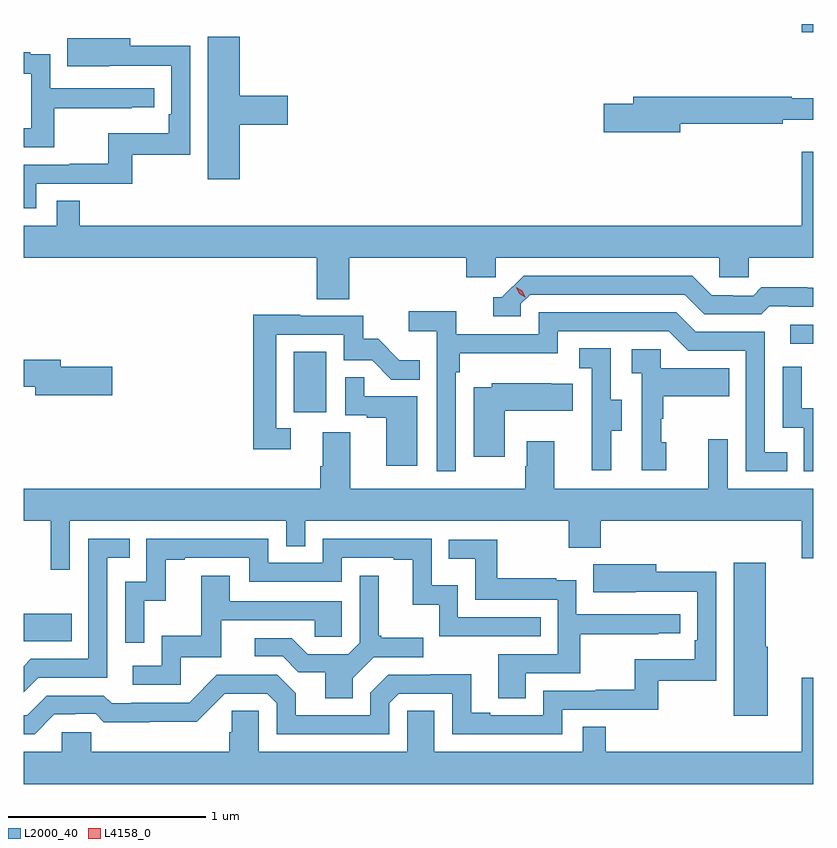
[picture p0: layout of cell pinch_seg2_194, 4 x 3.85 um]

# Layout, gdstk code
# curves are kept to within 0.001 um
import gdstk
lib = gdstk.Library(unit=1e-6, precision=1e-09)
def R(c, l, rs):  # rectangles x0, y0, x1, y1
    for r in rs: c.add(gdstk.rectangle(r[:2], r[2:], *l))
def P(c, l, *ps):  # polygons
    for p in ps: c.add(gdstk.Polygon(p, *l))
L2000_40 = (2000, 40)
L4158_0 = (4158, 0)

pinch_seg2_194 = lib.new_cell('pinch_seg2_194')
R(pinch_seg2_194, L2000_40, [(1000.226,661.679,1000.469,661.819), (1001.594,662.838,1001.758,663.145), (1004.109,663.186,1004.226,663.282), (1004.168,664.764,1004.226,664.805)])
P(pinch_seg2_194, L2000_40, [(1001.32,664.295),(1001.563,664.295),(1001.563,664.442),(1001.32,664.442),(1001.32,664.741),(1001.159,664.741),(1001.159,664.02),(1001.32,664.02)],
  [(1000.29,663.996),(1000.777,663.996),(1000.777,664.143),(1001.07,664.143),(1001.07,664.694),(1000.765,664.694),(1000.765,664.732),(1000.447,664.732),(1000.447,664.592),(1000.661,664.592),(1000.661,664.593),(1000.974,664.593),(1000.974,664.348),(1000.961,664.348),(1000.961,664.252),(1000.656,664.252),(1000.656,664.097),(1000.459,664.097),(1000.459,664.092),(1000.226,664.092),(1000.226,663.873),(1000.29,663.873)],
  [(1000.382,664.378),(1000.775,664.378),(1000.775,664.383),(1000.888,664.383),(1000.888,664.479),(1000.362,664.479),(1000.362,664.651),(1000.259,664.651),(1000.259,664.663),(1000.226,664.663),(1000.226,664.554),(1000.266,664.554),(1000.266,664.278),(1000.226,664.278),(1000.226,664.182),(1000.382,664.182)],
  [(1003.552,664.3),(1004.072,664.3),(1004.072,664.319),(1004.226,664.319),(1004.226,664.429),(1004.117,664.429),(1004.117,664.436),(1003.313,664.436),(1003.313,664.4),(1003.164,664.4),(1003.164,664.258),(1003.552,664.258)],
  [(1001.876,663.62),(1002.467,663.62),(1002.467,663.522),(1002.618,663.522),(1002.618,663.62),(1003.749,663.62),(1003.749,663.522),(1003.899,663.522),(1003.899,663.62),(1004.226,663.62),(1004.226,664.159),(1004.168,664.159),(1004.168,663.784),(1000.511,663.784),(1000.511,663.911),(1000.395,663.911),(1000.395,663.784),(1000.226,663.784),(1000.226,663.62),(1001.711,663.62),(1001.711,663.412),(1001.876,663.412)],
  [(1002.744,663.387),(1002.792,663.435),(1003.575,663.435),(1003.674,663.336),(1003.963,663.336),(1004.002,663.375),(1004.101,663.375),(1004.101,663.372),(1004.226,663.372),(1004.226,663.469),(1004.196,663.469),(1004.196,663.472),(1003.963,663.472),(1003.921,663.429),(1003.818,663.429),(1003.818,663.432),(1003.711,663.432),(1003.612,663.531),(1002.759,663.531),(1002.648,663.42),(1002.605,663.42),(1002.605,663.324),(1002.744,663.324)],
  [(1002.414,663.041),(1002.434,663.041),(1002.434,663.137),(1002.93,663.137),(1002.93,663.249),(1003.494,663.249),(1003.593,663.15),(1003.884,663.15),(1003.884,662.541),(1004.093,662.541),(1004.093,662.637),(1003.98,662.637),(1003.98,663.246),(1003.63,663.246),(1003.531,663.345),(1002.834,663.345),(1002.834,663.234),(1002.416,663.234),(1002.416,663.35),(1002.177,663.35),(1002.177,663.248),(1002.318,663.248),(1002.318,662.541),(1002.414,662.541)],
  [(1001.578,662.757),(1001.505,662.757),(1001.505,663.231),(1001.847,663.231),(1001.847,663.102),(1001.991,663.102),(1002.089,663.004),(1002.233,663.004),(1002.233,663.103),(1002.129,663.103),(1002.022,663.21),(1001.946,663.21),(1001.946,663.327),(1001.627,663.327),(1001.627,663.332),(1001.389,663.332),(1001.389,662.652),(1001.578,662.652)],
  [(1003.201,662.746),(1003.255,662.746),(1003.255,662.901),(1003.2,662.901),(1003.2,663.164),(1003.041,663.164),(1003.041,663.061),(1003.104,663.061),(1003.104,662.757),(1003.103,662.757),(1003.103,662.544),(1003.201,662.544)],
  [(1003.48,662.688),(1003.455,662.688),(1003.455,662.807),(1003.465,662.807),(1003.465,662.921),(1003.799,662.921),(1003.799,663.061),(1003.452,663.061),(1003.452,663.159),(1003.305,663.159),(1003.305,663.035),(1003.356,663.035),(1003.356,662.544),(1003.48,662.544)],
  [(1000.675,663.068),(1000.414,663.068),(1000.414,663.104),(1000.226,663.104),(1000.226,662.968),(1000.286,662.968),(1000.286,662.926),(1000.675,662.926)],
  [(1004.226,662.858),(1004.166,662.858),(1004.166,663.07),(1004.07,663.07),(1004.07,662.76),(1004.178,662.76),(1004.178,662.541),(1004.226,662.541)],
  [(1002.22,662.919),(1001.951,662.919),(1001.951,663.017),(1001.856,663.017),(1001.856,662.823),(1001.963,662.823),(1001.963,662.811),(1002.062,662.811),(1002.062,662.568),(1002.22,662.568)],
  [(1002.664,662.846),(1003.007,662.846),(1003.007,662.983),(1002.899,662.983),(1002.899,662.986),(1002.597,662.986),(1002.597,662.965),(1002.506,662.965),(1002.506,662.613),(1002.664,662.613)],
  [(1000.461,662.288),(1001.556,662.288),(1001.556,662.161),(1001.652,662.161),(1001.652,662.288),(1002.988,662.288),(1002.988,662.153),(1003.148,662.153),(1003.148,662.288),(1004.168,662.288),(1004.168,662.1),(1004.226,662.1),(1004.226,662.452),(1003.791,662.452),(1003.791,662.701),(1003.694,662.701),(1003.694,662.452),(1002.913,662.452),(1002.913,662.692),(1002.773,662.692),(1002.773,662.564),(1002.766,662.564),(1002.766,662.452),(1001.881,662.452),(1001.881,662.738),(1001.741,662.738),(1001.741,662.564),(1001.729,662.564),(1001.729,662.452),(1000.226,662.452),(1000.226,662.288),(1000.364,662.288),(1000.364,662.04),(1000.461,662.04)],
  [(1000.3,661.494),(1000.65,661.494),(1000.65,662.103),(1000.763,662.103),(1000.763,662.199),(1000.554,662.199),(1000.554,661.59),(1000.263,661.59),(1000.226,661.553),(1000.226,661.42)],
  [(1000.836,661.883),(1000.946,661.883),(1000.946,662.091),(1001.041,662.091),(1001.041,662.103),(1001.37,662.103),(1001.37,661.98),(1001.838,661.98),(1001.838,662.103),(1002.101,662.103),(1002.101,662.091),(1002.197,662.091),(1002.197,661.865),(1002.33,661.865),(1002.33,661.704),(1002.845,661.704),(1002.845,661.8),(1002.426,661.8),(1002.426,661.963),(1002.294,661.963),(1002.294,662.199),(1001.742,662.199),(1001.742,662.076),(1001.466,662.076),(1001.466,662.199),(1000.848,662.199),(1000.848,661.98),(1000.74,661.98),(1000.74,661.671),(1000.836,661.671)],
  [(1002.769,661.518),(1003.046,661.518),(1003.046,661.714),(1003.439,661.714),(1003.439,661.719),(1003.552,661.719),(1003.552,661.815),(1003.026,661.815),(1003.026,661.987),(1002.923,661.987),(1002.923,661.999),(1002.625,661.999),(1002.625,662.193),(1002.379,662.193),(1002.379,662.096),(1002.514,662.096),(1002.514,661.89),(1002.93,661.89),(1002.93,661.614),(1002.629,661.614),(1002.629,661.39),(1002.769,661.39)],
  [(1003.996,661.65),(1003.984,661.65),(1003.984,662.077),(1003.823,662.077),(1003.823,661.302),(1003.996,661.302)],
  [(1000.381,661.308),(1000.488,661.308),(1000.488,661.311),(1000.591,661.311),(1000.633,661.269),(1000.866,661.269),(1000.866,661.271),(1001.102,661.271),(1001.244,661.413),(1001.46,661.413),(1001.508,661.365),(1001.508,661.209),(1002.078,661.209),(1002.078,661.365),(1002.126,661.413),(1002.396,661.413),(1002.396,661.209),(1002.954,661.209),(1002.954,661.332),(1003.441,661.332),(1003.441,661.479),(1003.734,661.479),(1003.734,662.03),(1003.429,662.03),(1003.429,662.068),(1003.111,662.068),(1003.111,661.928),(1003.638,661.929),(1003.638,661.684),(1003.625,661.684),(1003.625,661.588),(1003.32,661.588),(1003.32,661.433),(1003.123,661.433),(1003.123,661.428),(1002.858,661.428),(1002.858,661.305),(1002.589,661.305),(1002.589,661.318),(1002.493,661.318),(1002.493,661.511),(1002.288,661.511),(1002.288,661.509),(1002.072,661.509),(1001.982,661.419),(1001.982,661.305),(1001.605,661.305),(1001.605,661.415),(1001.511,661.509),(1001.205,661.509),(1001.064,661.368),(1000.771,661.368),(1000.771,661.365),(1000.672,661.365),(1000.633,661.404),(1000.344,661.404),(1000.245,661.305),(1000.226,661.305),(1000.226,661.209),(1000.282,661.209)],
  [(1001.022,661.599),(1001.227,661.599),(1001.227,661.785),(1001.701,661.785),(1001.701,661.701),(1001.838,661.701),(1001.838,661.881),(1001.269,661.881),(1001.269,662.011),(1001.125,662.011),(1001.125,661.708),(1000.926,661.708),(1000.926,661.554),(1000.779,661.554),(1000.779,661.458),(1001.022,661.458)],
  [(1001.893,661.492),(1002,661.599),(1002.25,661.599),(1002.25,661.696),(1002.037,661.696),(1002.037,661.708),(1002.025,661.708),(1002.025,662.011),(1001.928,662.011),(1001.928,661.671),(1001.871,661.614),(1001.665,661.614),(1001.584,661.695),(1001.397,661.695),(1001.397,661.602),(1001.538,661.602),(1001.618,661.522),(1001.753,661.522),(1001.753,661.39),(1001.893,661.39)],
  [(1004.226,661.495),(1004.168,661.495),(1004.168,661.12),(1003.175,661.12),(1003.175,661.247),(1003.059,661.247),(1003.059,661.12),(1002.307,661.12),(1002.307,661.328),(1002.168,661.328),(1002.168,661.12),(1001.418,661.12),(1001.418,661.328),(1001.281,661.328),(1001.281,661.218),(1001.267,661.218),(1001.267,661.12),(1000.569,661.12),(1000.569,661.218),(1000.419,661.218),(1000.419,661.12),(1000.226,661.12),(1000.226,660.956),(1004.226,660.956)])
P(pinch_seg2_194, L4158_0, [(1002.767,663.42),(1002.736,663.439),(1002.72,663.472),(1002.72,663.472),(1002.72,663.472),(1002.751,663.453),(1002.767,663.421),(1002.767,663.42)])

lib.write_gds('pinch_seg2_194.gds')
